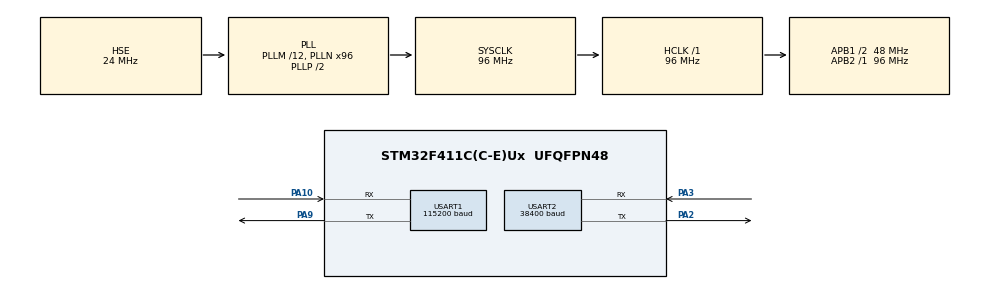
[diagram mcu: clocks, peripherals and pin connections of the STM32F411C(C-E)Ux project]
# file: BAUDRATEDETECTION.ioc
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Mcu.Family=STM32F4
Mcu.Name=STM32F411C(C-E)Ux
Mcu.Package=UFQFPN48
NVIC.PriorityGroup=NVIC_PRIORITYGROUP_4
PA10.GPIO_PuPd=GPIO_NOPULL
PA10.Mode=Asynchronous
PA10.Signal=USART1_RX
PA13.Mode=Serial_Wire
PA13.Signal=SYS_JTMS-SWDIO
PA14.Mode=Serial_Wire
PA14.Signal=SYS_JTCK-SWCLK
PA2.Mode=Asynchronous
PA2.Signal=USART2_TX
PA3.Mode=Asynchronous
PA3.Signal=USART2_RX
PA9.GPIO_PuPd=GPIO_NOPULL
PA9.Mode=Asynchronous
PA9.Signal=USART1_TX
PH0\ -\ OSC_IN.Mode=HSE-External-Oscillator
PH0\ -\ OSC_IN.Signal=RCC_OSC_IN
PH1\ -\ OSC_OUT.Mode=HSE-External-Oscillator
PH1\ -\ OSC_OUT.Signal=RCC_OSC_OUT
ProjectManager.HeapSize=0x200
ProjectManager.StackSize=0x400
ProjectManager.TargetToolchain=STM32CubeIDE
RCC.48MHZClocksFreq_Value=48000000
RCC.AHBFreq_Value=96000000
RCC.APB1CLKDivider=RCC_HCLK_DIV2
RCC.APB1Freq_Value=48000000
RCC.APB1TimFreq_Value=96000000
RCC.APB2Freq_Value=96000000
RCC.APB2TimFreq_Value=96000000
RCC.CortexFreq_Value=96000000
RCC.HCLKFreq_Value=96000000
RCC.HSE_VALUE=24000000
RCC.HSI_VALUE=16000000
RCC.LSE_VALUE=32768
RCC.PLLM=12
RCC.PLLN=96
RCC.PLLSourceVirtual=RCC_PLLSOURCE_HSE
RCC.SYSCLKFreq_VALUE=96000000
RCC.SYSCLKSource=RCC_SYSCLKSOURCE_PLLCLK
RCC.VCOOutputFreq_Value=192000000
USART1.BaudRate=115200
USART1.VirtualMode=VM_ASYNC
USART2.BaudRate=38400
USART2.VirtualMode=VM_ASYNC
board=custom

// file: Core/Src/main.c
/* USER CODE BEGIN Header */
/**
 ******************************************************************************
 * @file           : main.c
 * @brief          : Main program body
 ******************************************************************************
 * @attention
 *
 * Copyright (c) 2024 STMicroelectronics.
 * All rights reserved.
 *
 * This software is licensed under terms that can be found in the LICENSE file
 * in the root directory of this software component.
 * If no LICENSE file comes with this software, it is provided AS-IS.
 *
 ******************************************************************************
 */
/* USER CODE END Header */
#include "main.h"

/* USER CODE BEGIN Includes */
//#include "usbd_cdc_if.h"
/* USER CODE END Includes */

/* USER CODE BEGIN PD */
#define RESPONSE_BUFFER_SIZE 64
#define PRINT_BUFFER_SIZE 64
/* USER CODE END PD */

UART_HandleTypeDef huart1;
UART_HandleTypeDef huart2;

/* USER CODE BEGIN PV */
char rxBuffer[RESPONSE_BUFFER_SIZE];
char received_char;
int baudRate[] = {1200, 2400, 4800, 9600, 19200, 38400, 57600, 115200};
char buffer[PRINT_BUFFER_SIZE];
/* USER CODE END PV */

void SystemClock_Config(void);
static void MX_GPIO_Init(void);
static void MX_USART2_UART_Init(void);
static void MX_USART1_UART_Init(void);
/* USER CODE BEGIN PFP */
void sendATCommand(const char *command, uint32_t timeOut);
void USART_SendChar(char ch);
char USART_ReceiveChar(void);
/* USER CODE END PFP */

int main(void)
{

  /* MCU Configuration--------------------------------------------------------*/

  /* Reset of all peripherals, Initializes the Flash interface and the Systick. */
  HAL_Init();

  /* Configure the system clock */
  SystemClock_Config();

  /* Initialize all configured peripherals */
  MX_GPIO_Init();
  MX_USART2_UART_Init();
  MX_USART1_UART_Init();
  /* USER CODE BEGIN 2 */

//	const char *command1 = "AT+UART=115200,1,0\r\n";
//  	const char *command1 = "AT+NAME\r\n";
  	HAL_Delay(1000);
//  	const char command1[] = "AT+BAUD5"; // 19200
  	const char command1[] = "AT+NAMEESP30x";
//  	const char command1[] = "AT\r\n";
//  	const char command1[] = "AT+BAUD5";
//  	const char command1[] = "AT+NAMEESP";
    memset(rxBuffer, 0, RESPONSE_BUFFER_SIZE);
    HAL_UART_Transmit(&huart1, (uint8_t *)command1, strlen(command1), 800);
    HAL_UART_Receive(&huart1, (uint8_t *)rxBuffer, RESPONSE_BUFFER_SIZE, 800);

//    memset(rxBuffer, 0, RESPONSE_BUFFER_SIZE);
//    char buffer[256];

//	HAL_Delay(1000);
;
//    HAL_UART_Receive(&huart1, (uint8_t *)rxBuffer, strlen(rxBuffer), 700);
//    snprintf(buffer, 256, "Response: %s\r\n", rxBuffer);
//    CDC_Transmit_FS((uint8_t*)buffer, strlen(buffer));

//	for (int i = 0; i < 8; i++) {
//		huart1.Init.BaudRate = baudRate[i];
//		HAL_UART_Init(&huart1);
//		sendATCommand("AT", 800); // HC-06
//		sendATCommand("AT\r\n", 200); // Todos os outros
//      // Para o HC-05, não se deve colocar \r\n ou \r ou \n
//    	// Para o HC-05, a alteração do nome é assim: "AT+NAME=ESP30x";
//		// Para o HC-05, deve-se colocar no modo AT pressionando o botão e soltando depois de alimentá-lo
//		// Para o HC-05, no modo AT, a velocidade é sempre 38400. Quando se muda a velocidade, muda-se a velocidade de operação+
//		// Para o HC-05, altera-se a velocidade com: AT+UART=baudrate,0,0
//		// Para o HC-06 - que é só opera em modo slave - não se deve acrescentar \r\n e o timeOut deve ser >= 600
//		// Para o HC-06, a baudrate padrão e 9600
//		// Para o HC-06, altera-se velocidade com: AT+BAUDx (x=1(1200), ..., x=8(115200)
//		// Para o HM-10, altera-se velocidade com: AT+BAUDx (x=1(1200), ..., x=8(115200)

//}

//	HAL_UART_Transmit(&huart2, "AT+UART=115200,1,0\r\n", strlen("AT+UART=115200,1,0\r\n"), 200);
//	HAL_UART_Receive(&huart2, (uint8_t *)rxBuffer, RESPONSE_BUFFER_SIZE, timeOut);
//	CDC_Transmit_FS((uint8_t*)buffer, strlen(buffer));

	//sendATCommand("AT\r\n", 100);
	//sendATCommand("AT+UART=115200,1,0\r\n", 400);

  /* USER CODE END 2 */

  /* Infinite loop */
	while (1) {

	}
}

void SystemClock_Config(void)
{
  RCC_OscInitTypeDef RCC_OscInitStruct = {0};
  RCC_ClkInitTypeDef RCC_ClkInitStruct = {0};

  /** Configure the main internal regulator output voltage
  */
  __HAL_RCC_PWR_CLK_ENABLE();
  __HAL_PWR_VOLTAGESCALING_CONFIG(PWR_REGULATOR_VOLTAGE_SCALE1);

  /** Initializes the RCC Oscillators according to the specified parameters
  * in the RCC_OscInitTypeDef structure.
  */
  RCC_OscInitStruct.OscillatorType = RCC_OSCILLATORTYPE_HSE;
  RCC_OscInitStruct.HSEState = RCC_HSE_ON;
  RCC_OscInitStruct.PLL.PLLState = RCC_PLL_ON;
  RCC_OscInitStruct.PLL.PLLSource = RCC_PLLSOURCE_HSE;
  RCC_OscInitStruct.PLL.PLLM = 12;
  RCC_OscInitStruct.PLL.PLLN = 96;
  RCC_OscInitStruct.PLL.PLLP = RCC_PLLP_DIV2;
  RCC_OscInitStruct.PLL.PLLQ = 4;
  if (HAL_RCC_OscConfig(&RCC_OscInitStruct) != HAL_OK)
  {
    Error_Handler();
  }

  /** Initializes the CPU, AHB and APB buses clocks
  */
  RCC_ClkInitStruct.ClockType = RCC_CLOCKTYPE_HCLK|RCC_CLOCKTYPE_SYSCLK
                              |RCC_CLOCKTYPE_PCLK1|RCC_CLOCKTYPE_PCLK2;
  RCC_ClkInitStruct.SYSCLKSource = RCC_SYSCLKSOURCE_PLLCLK;
  RCC_ClkInitStruct.AHBCLKDivider = RCC_SYSCLK_DIV1;
  RCC_ClkInitStruct.APB1CLKDivider = RCC_HCLK_DIV2;
  RCC_ClkInitStruct.APB2CLKDivider = RCC_HCLK_DIV1;

  if (HAL_RCC_ClockConfig(&RCC_ClkInitStruct, FLASH_LATENCY_3) != HAL_OK)
  {
    Error_Handler();
  }
}

static void MX_USART1_UART_Init(void)
{

  huart1.Instance = USART1;
  huart1.Init.BaudRate = 19200;
  huart1.Init.WordLength = UART_WORDLENGTH_8B;
  huart1.Init.StopBits = UART_STOPBITS_1;
  huart1.Init.Parity = UART_PARITY_NONE;
  huart1.Init.Mode = UART_MODE_TX_RX;
  huart1.Init.HwFlowCtl = UART_HWCONTROL_NONE;
  huart1.Init.OverSampling = UART_OVERSAMPLING_16;
  if (HAL_UART_Init(&huart1) != HAL_OK)
  {
    Error_Handler();
  }

}

static void MX_USART2_UART_Init(void)
{

  huart2.Instance = USART2;
  huart2.Init.BaudRate = 38400;
  huart2.Init.WordLength = UART_WORDLENGTH_8B;
  huart2.Init.StopBits = UART_STOPBITS_1;
  huart2.Init.Parity = UART_PARITY_NONE;
  huart2.Init.Mode = UART_MODE_TX_RX;
  huart2.Init.HwFlowCtl = UART_HWCONTROL_NONE;
  huart2.Init.OverSampling = UART_OVERSAMPLING_16;
  if (HAL_UART_Init(&huart2) != HAL_OK)
  {
    Error_Handler();
  }

}

static void MX_GPIO_Init(void)
{

  /* GPIO Ports Clock Enable */
  __HAL_RCC_GPIOH_CLK_ENABLE();
  __HAL_RCC_GPIOA_CLK_ENABLE();

}

/* USER CODE BEGIN 4 */
// Function to send an AT command and receive the response
void sendATCommand(const char *command, uint32_t timeOut) {
    memset(rxBuffer, 0, RESPONSE_BUFFER_SIZE);
    HAL_UART_Transmit(&huart1, (uint8_t *)command, strlen(command), timeOut);
    HAL_UART_Receive(&huart1, (uint8_t *)rxBuffer, RESPONSE_BUFFER_SIZE, timeOut);
    if (strstr(rxBuffer, "OK") != NULL) {

        snprintf(buffer, PRINT_BUFFER_SIZE, "Baudrate: %ld - Response: %s\r\n", huart2.Init.BaudRate, rxBuffer);
//        CDC_Transmit_FS((uint8_t*)buffer, strlen(buffer));
    } else {
        char buffer[PRINT_BUFFER_SIZE];
        snprintf(buffer, PRINT_BUFFER_SIZE, "Baudrate: %ld - No response\r\n", huart2.Init.BaudRate);
//        CDC_Transmit_FS((uint8_t*)buffer, strlen(buffer));
    }
}

// Função para enviar um caractere via USART
void USART_SendChar(char ch) {
	HAL_UART_Transmit(&huart2, (uint8_t*) &ch, 1, HAL_MAX_DELAY);
}

// Função para receber um caractere via USART
char USART_ReceiveChar(void) {
	uint8_t ch;
	HAL_UART_Receive(&huart2, &ch, 1, HAL_MAX_DELAY);
	return (char) ch;
}
/* USER CODE END 4 */

void Error_Handler(void)
{
	__disable_irq();
	while (1) {
	}
}
